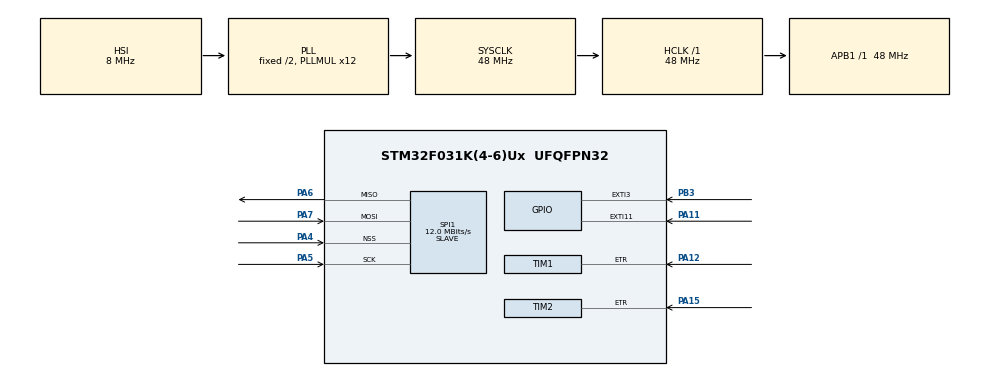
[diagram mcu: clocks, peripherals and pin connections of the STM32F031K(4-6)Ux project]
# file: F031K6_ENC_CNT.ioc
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Mcu.Family=STM32F0
Mcu.Name=STM32F031K(4-6)Ux
Mcu.Package=UFQFPN32
NVIC.EXTI2_3_IRQn=true\:0\:0\:false\:false\:true\:true\:true
NVIC.EXTI4_15_IRQn=true\:0\:0\:false\:false\:true\:true\:true
PA11.GPIO_ModeDefaultEXTI=GPIO_MODE_IT_RISING_FALLING
PA11.GPIO_PuPd=GPIO_PULLUP
PA11.Signal=GPXTI11
PA12.Signal=S_TIM1_ETR
PA13.Mode=Serial_Wire
PA13.Signal=SYS_SWDIO
PA14.Mode=Serial_Wire
PA14.Signal=SYS_SWCLK
PA15.Signal=S_TIM2_CH1_ETR
PA4.Mode=NSS_Signal_Hard_Input
PA4.Signal=SPI1_NSS
PA5.Mode=Full_Duplex_Slave
PA5.Signal=SPI1_SCK
PA6.Mode=Full_Duplex_Slave
PA6.Signal=SPI1_MISO
PA7.Mode=Full_Duplex_Slave
PA7.Signal=SPI1_MOSI
PB3.GPIO_ModeDefaultEXTI=GPIO_MODE_IT_RISING_FALLING
PB3.GPIO_PuPd=GPIO_PULLUP
PB3.Signal=GPXTI3
ProjectManager.HeapSize=0x200
ProjectManager.StackSize=0x400
ProjectManager.TargetToolchain=MDK-ARM V5
RCC.AHBFreq_Value=48000000
RCC.APB1Freq_Value=48000000
RCC.APB1TimFreq_Value=48000000
RCC.HCLKFreq_Value=48000000
RCC.PLLMUL=RCC_PLL_MUL12
RCC.SYSCLKFreq_VALUE=48000000
RCC.SYSCLKSource=RCC_SYSCLKSOURCE_PLLCLK
SH.S_TIM1_ETR.0=TIM1_ETR,ClockSourceETR_Mode2
SH.S_TIM2_CH1_ETR.0=TIM2_ETR,ClockSourceETR_Mode2
SPI1.BaudRatePrescaler=SPI_BAUDRATEPRESCALER_4
SPI1.CalculateBaudRate=12.0 MBits/s
SPI1.DataSize=SPI_DATASIZE_16BIT
SPI1.Direction=SPI_DIRECTION_2LINES
SPI1.Mode=SPI_MODE_SLAVE
SPI1.TIMode=SPI_TIMODE_ENABLE
SPI1.VirtualNSS=VM_NSSHARD
SPI1.VirtualType=VM_SLAVE
TIM1.Period=0xFFFF
TIM1.TIM_MasterOutputTrigger=TIM_TRGO_UPDATE
TIM2.Period=0xFFFFFFFF
TIM3.Period=0xFFFF
VP_TIM3_VS_ClockSourceITR.Mode=TriggerSource_ITR0
VP_TIM3_VS_ControllerModeClock.Mode=Clock Mode
board=custom

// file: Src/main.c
/* USER CODE BEGIN Header */
/**
  ******************************************************************************
  * @file           : main.c
  * @brief          : Main program body
  ******************************************************************************
  * @attention
  *
  * <h2><center>&copy; Copyright (c) 2019 STMicroelectronics.
  * All rights reserved.</center></h2>
  *
  * This software component is licensed by ST under BSD 3-Clause license,
  * the "License"; You may not use this file except in compliance with the
  * License. You may obtain a copy of the License at:
  *                        opensource.org/licenses/BSD-3-Clause
  *
  ******************************************************************************
  */
/* USER CODE END Header */

#include "main.h"
#include "spi.h"
#include "tim.h"
#include "gpio.h"

void SystemClock_Config(void);

int main(void)
{

  /* MCU Configuration--------------------------------------------------------*/

  /* Reset of all peripherals, Initializes the Flash interface and the Systick. */
  HAL_Init();

  /* Configure the system clock */
  SystemClock_Config();

  /* Initialize all configured peripherals */
  MX_GPIO_Init();
  MX_TIM1_Init();
  MX_TIM2_Init();
  MX_TIM3_Init();
  MX_SPI1_Init();
  /* USER CODE BEGIN 2 */

	//[BEGIN]init conter direction
	if(HAL_GPIO_ReadPin(GPIOB,GPIO_PIN_3))				//PB3 is high,timer2 up cnt
		htim2.Init.CounterMode = TIM_COUNTERMODE_UP;
	else																					//PB3 is low ,timer2 down cnt
		htim2.Init.CounterMode = TIM_COUNTERMODE_DOWN;
	HAL_TIM_Base_Init(&htim2);

	if(HAL_GPIO_ReadPin(GPIOA,GPIO_PIN_11))				//PA11 is high,timer1,3 up cnt
	{
		htim1.Init.CounterMode = TIM_COUNTERMODE_UP;
		htim3.Init.CounterMode = TIM_COUNTERMODE_UP;
	}
	else																					//PA11 is low ,timer1,3 down cnt
	{
		htim1.Init.CounterMode = TIM_COUNTERMODE_DOWN;
		htim3.Init.CounterMode = TIM_COUNTERMODE_DOWN;
	}
	HAL_TIM_Base_Init(&htim1);
	HAL_TIM_Base_Init(&htim3);
	//[END]init conter direction

	HAL_TIM_Base_Start(&htim3);
	HAL_TIM_Base_Start(&htim2);
	HAL_TIM_Base_Start(&htim1);

  /* USER CODE END 2 */

  /* Infinite loop */
  /* USER CODE BEGIN WHILE */
  while (1)
  {
		int a=0;
		int b =0;
		int c =0;
		int e=0;
		int d=0;
    /* USER CODE END WHILE */

  }
}

void SystemClock_Config(void)
{
  RCC_OscInitTypeDef RCC_OscInitStruct = {0};
  RCC_ClkInitTypeDef RCC_ClkInitStruct = {0};

  /** Initializes the CPU, AHB and APB busses clocks
  */
  RCC_OscInitStruct.OscillatorType = RCC_OSCILLATORTYPE_HSI;
  RCC_OscInitStruct.HSIState = RCC_HSI_ON;
  RCC_OscInitStruct.HSICalibrationValue = RCC_HSICALIBRATION_DEFAULT;
  RCC_OscInitStruct.PLL.PLLState = RCC_PLL_ON;
  RCC_OscInitStruct.PLL.PLLSource = RCC_PLLSOURCE_HSI;
  RCC_OscInitStruct.PLL.PLLMUL = RCC_PLL_MUL12;
  RCC_OscInitStruct.PLL.PREDIV = RCC_PREDIV_DIV1;
  if (HAL_RCC_OscConfig(&RCC_OscInitStruct) != HAL_OK)
  {
    Error_Handler();
  }
  /** Initializes the CPU, AHB and APB busses clocks
  */
  RCC_ClkInitStruct.ClockType = RCC_CLOCKTYPE_HCLK|RCC_CLOCKTYPE_SYSCLK
                              |RCC_CLOCKTYPE_PCLK1;
  RCC_ClkInitStruct.SYSCLKSource = RCC_SYSCLKSOURCE_PLLCLK;
  RCC_ClkInitStruct.AHBCLKDivider = RCC_SYSCLK_DIV1;
  RCC_ClkInitStruct.APB1CLKDivider = RCC_HCLK_DIV1;

  if (HAL_RCC_ClockConfig(&RCC_ClkInitStruct, FLASH_LATENCY_1) != HAL_OK)
  {
    Error_Handler();
  }
}

/* USER CODE BEGIN 4 */
//void HAL_GPIO_EXTI_Callback(uint16_t GPIO_Pin)
//{
//	if(GPIO_Pin == GPIO_PIN_3)
//	{

//	}
//	if(GPIO_Pin == GPIO_PIN_11)
//	{

//	}
//}
/* USER CODE END 4 */

void Error_Handler(void)
{
  /* USER CODE BEGIN Error_Handler_Debug */
  /* User can add his own implementation to report the HAL error return state */
   int a ;
  /* USER CODE END Error_Handler_Debug */
}

/************************ (C) COPYRIGHT STMicroelectronics *****END OF FILE****/
